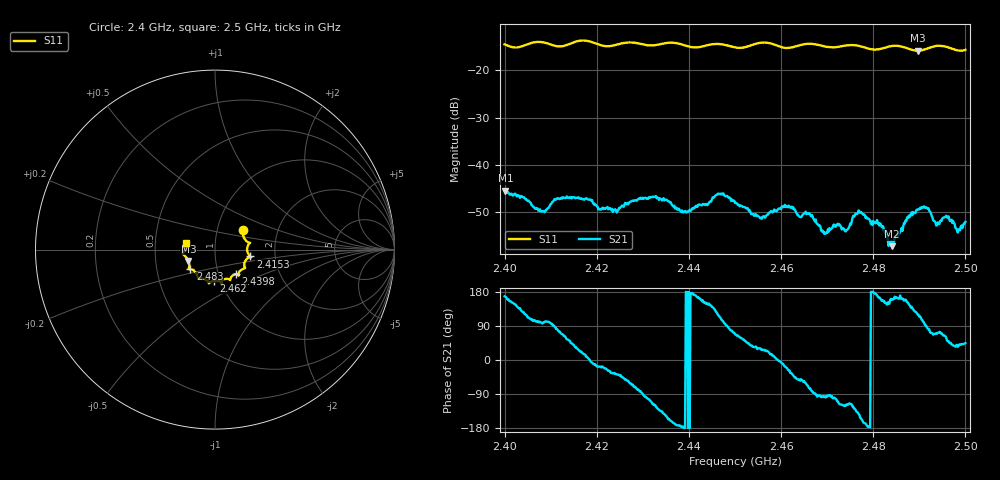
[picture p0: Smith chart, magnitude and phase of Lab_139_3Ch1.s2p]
# Hz S RI R 50
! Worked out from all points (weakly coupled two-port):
!   601 points, 2.4 GHz to 2.5 GHz, reference 50 ohm
!   highest |S21| = -45.43 dB at 2.4002 GHz (marker M1); lowest = -57.1 dB at 2.484 GHz (marker M2)
!   lowest |S11| = -15.9 dB at 2.4897 GHz (marker M3), VSWR 1.38, Z = 36.9 - j4.8 ohm
!   |S11| at or under -10 dB: start of sweep to end of sweep
!   S12 and S22 are empty: the file has one direction only
!   S11 on the Smith chart (normalised r, x): 2.4 GHz: 1.33, +0.29; 2.4153 GHz: 1.48, -0.12; 2.4398 GHz: 1.21, -0.34; 2.462 GHz: 0.93, -0.33; 2.483 GHz: 0.74, -0.17; 2.5 GHz: 0.72, +0.06
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2.4e9  0.155 0.1065  -0.00521 0.00111  0 0  0 0
2.400167e9  0.1548 0.1042  -0.00521 0.00122  0 0  0 0
2.408333e9  0.1943 0.0367  -0.00042 0.00323  0 0  0 0
2.415333e9  0.1966 -0.0384  0.00372 0.00246  0 0  0 0
2.416667e9  0.2022 -0.0427  0.00413 0.00167  0 0  0 0
2.424e9  0.1629 -0.0875  0.00273 -0.00205  0 0  0 0
2.433333e9  0.1312 -0.1336  -0.00283 -0.00344  0 0  0 0
2.439833e9  0.1153 -0.1368  -0.00321 -7.43e-07  0 0  0 0
2.446667e9  0.0844 -0.1698  -0.00198 0.00451  0 0  0 0
2.45e9  0.0645 -0.1627  0.00146 0.0037  0 0  0 0
2.455667e9  0.0375 -0.1924  0.00246 0.00126  0 0  0 0
2.462e9  -0.00515 -0.1733  0.00294 -0.002  0 0  0 0
2.466667e9  -0.0343 -0.1876  0.000391 -0.00295  0 0  0 0
2.4695e9  -0.0438 -0.1736  -0.00025 -0.00192  0 0  0 0
2.474333e9  -0.0893 -0.1606  -0.000929 -0.00185  0 0  0 0
2.477167e9  -0.0964 -0.152  -0.00276 -0.00146  0 0  0 0
2.483e9  -0.1379 -0.1097  -0.00151 0.00101  0 0  0 0
2.483333e9  -0.1404 -0.1094  -0.00119 0.000726  0 0  0 0
2.484e9  -0.1439 -0.1091  -0.00129 0.000515  0 0  0 0
2.489667e9  -0.1478 -0.0634  -0.00167 0.00292  0 0  0 0
2.498333e9  -0.1621 0.0109  0.00159 0.00111  0 0  0 0
2.5e9  -0.1599 0.0392  0.00178 0.00177  0 0  0 0
